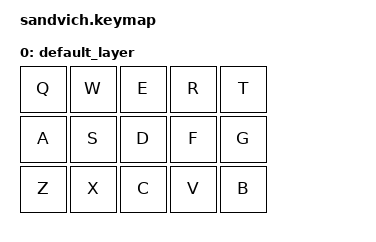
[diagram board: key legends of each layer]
// This file was generated from a template. Edit it to match your keyboard.
// See https://zmk.dev/docs/development/hardware-integration/new-shield for more instructions.

#include <behaviors.dtsi>
#include <dt-bindings/zmk/keys.h>

/ {
    keymap {
        compatible = "zmk,keymap";

        // Remove the 'layers' container node
        default_layer {
            bindings = <
                &kp Q &kp W &kp E &kp R &kp T
                &kp A &kp S &kp D &kp F &kp G
                &kp Z &kp X &kp C &kp V &kp B
            >;
        };
    };
};
